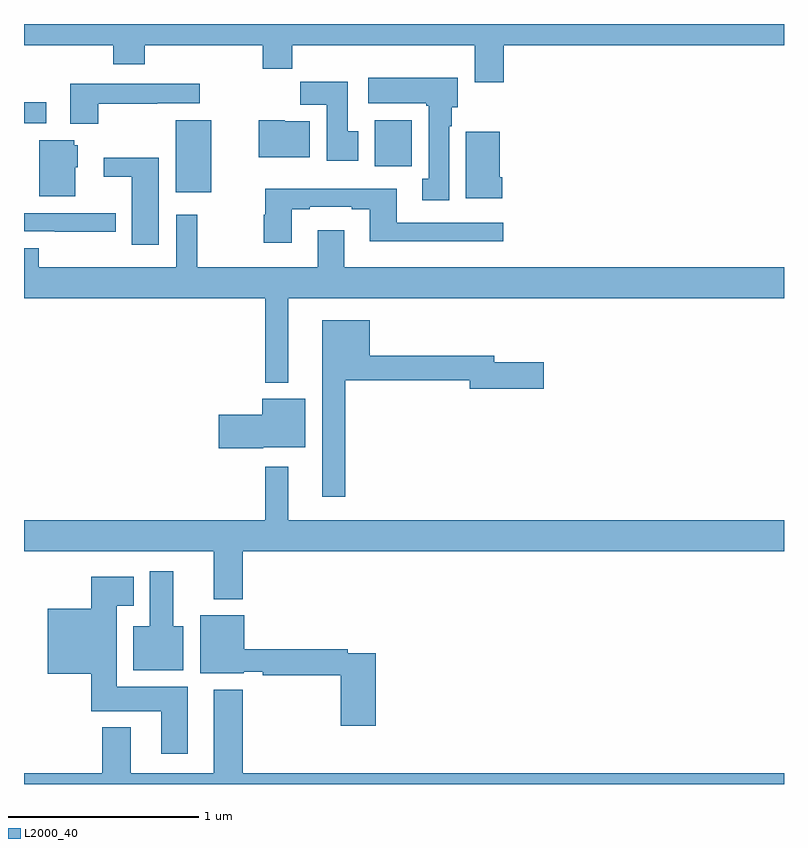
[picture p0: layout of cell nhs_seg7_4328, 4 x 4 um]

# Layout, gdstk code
import gdstk
lib = gdstk.Library(unit=1e-6, precision=1e-09)
def R(c, l, rs):  # rectangles x0, y0, x1, y1
    for r in rs: c.add(gdstk.rectangle(r[:2], r[2:], *l))
def P(c, l, *ps):  # polygons
    for p in ps: c.add(gdstk.Polygon(p, *l))
L2000_40 = (2000, 40)

nhs_seg7_4328 = lib.new_cell('nhs_seg7_4328')
R(nhs_seg7_4328, L2000_40, [(383.798,1061.114,383.986,1061.494), (384.845,1061.252,385.042,1061.494)])
P(nhs_seg7_4328, L2000_40, [(385.526,1061.888),(387,1061.888),(387,1062),(383,1062),(383,1061.888),(383.471,1061.888),(383.471,1061.789),(383.636,1061.789),(383.636,1061.888),(384.257,1061.888),(384.257,1061.764),(384.413,1061.764),(384.413,1061.888),(385.373,1061.888),(385.373,1061.694),(385.526,1061.694)],
  [(385.237,1061.462),(385.25,1061.462),(385.25,1061.562),(385.282,1061.562),(385.282,1061.716),(384.813,1061.716),(384.813,1061.582),(385.117,1061.582),(385.117,1061.569),(385.13,1061.569),(385.13,1061.186),(385.097,1061.186),(385.097,1061.073),(385.237,1061.073)],
  [(384.76,1061.436),(384.703,1061.436),(384.703,1061.695),(384.454,1061.695),(384.454,1061.576),(384.593,1061.576),(384.593,1061.28),(384.76,1061.28)],
  [(383.391,1061.58),(383.702,1061.58),(383.702,1061.582),(383.926,1061.582),(383.926,1061.686),(383.243,1061.686),(383.243,1061.474),(383.391,1061.474)],
  [(383.116,1061.587),(383.002,1061.587),(383.002,1061.575),(383,1061.575),(383,1061.478),(383.116,1061.478)],
  [(384.505,1061.488),(384.372,1061.488),(384.372,1061.494),(384.236,1061.494),(384.236,1061.3),(384.505,1061.3)],
  [(385.517,1061.194),(385.504,1061.194),(385.504,1061.434),(385.326,1061.434),(385.326,1061.283),(385.325,1061.283),(385.325,1061.082),(385.517,1061.082)],
  [(383.269,1061.247),(383.284,1061.247),(383.284,1061.361),(383.265,1061.361),(383.265,1061.389),(383.081,1061.389),(383.081,1061.093),(383.269,1061.093)],
  [(383.71,1061.297),(383.421,1061.297),(383.421,1061.195),(383.567,1061.195),(383.567,1060.839),(383.71,1060.839)],
  [(384.409,1061.025),(384.505,1061.025),(384.505,1061.037),(384.725,1061.037),(384.725,1061.025),(384.821,1061.025),(384.821,1060.856),(385.522,1060.856),(385.522,1060.953),(384.961,1060.953),(384.961,1061.134),(384.269,1061.134),(384.269,1060.995),(384.262,1060.995),(384.262,1060.848),(384.409,1060.848)],
  [(383.482,1061.004),(383,1061.004),(383,1060.908),(383.161,1060.908),(383.161,1060.907),(383.482,1060.907)],
  [(384.391,1060.556),(387,1060.556),(387,1060.72),(384.685,1060.72),(384.685,1060.915),(384.545,1060.915),(384.545,1060.72),(383.911,1060.72),(383.911,1060.996),(383.802,1060.996),(383.802,1060.72),(383.078,1060.72),(383.078,1060.819),(383,1060.819),(383,1060.556),(384.27,1060.556),(384.27,1060.112),(384.391,1060.112)],
  [(384.691,1060.126),(385.346,1060.126),(385.346,1060.079),(385.735,1060.079),(385.735,1060.221),(385.474,1060.221),(385.474,1060.255),(384.82,1060.255),(384.82,1060.441),(384.569,1060.441),(384.569,1059.513),(384.691,1059.513)],
  [(384.258,1059.773),(384.481,1059.773),(384.481,1060.027),(384.254,1060.027),(384.254,1059.944),(384.024,1059.944),(384.024,1059.766),(384.258,1059.766)],
  [(384.152,1059.224),(387,1059.224),(387,1059.388),(384.391,1059.388),(384.391,1059.67),(384.27,1059.67),(384.27,1059.388),(383,1059.388),(383,1059.224),(383.999,1059.224),(383.999,1058.972),(384.152,1058.972)],
  [(383.839,1058.83),(383.785,1058.83),(383.785,1059.121),(383.663,1059.121),(383.663,1058.83),(383.576,1058.83),(383.576,1058.6),(383.839,1058.6)],
  [(383.863,1058.512),(383.488,1058.512),(383.488,1058.939),(383.578,1058.939),(383.578,1059.091),(383.354,1059.091),(383.354,1058.923),(383.126,1058.923),(383.126,1058.579),(383.354,1058.579),(383.354,1058.384),(383.723,1058.384),(383.723,1058.16),(383.863,1058.16)],
  [(384.851,1058.688),(384.704,1058.688),(384.704,1058.708),(384.16,1058.708),(384.16,1058.887),(383.927,1058.887),(383.927,1058.582),(384.156,1058.582),(384.156,1058.592),(384.256,1058.592),(384.256,1058.572),(384.668,1058.572),(384.668,1058.307),(384.851,1058.307)],
  [(387,1058.056),(384.152,1058.056),(384.152,1058.497),(383.999,1058.497),(383.999,1058.056),(383.563,1058.056),(383.563,1058.299),(383.411,1058.299),(383.411,1058.056),(383,1058.056),(383,1058),(387,1058)])

lib.write_gds('nhs_seg7_4328.gds')
